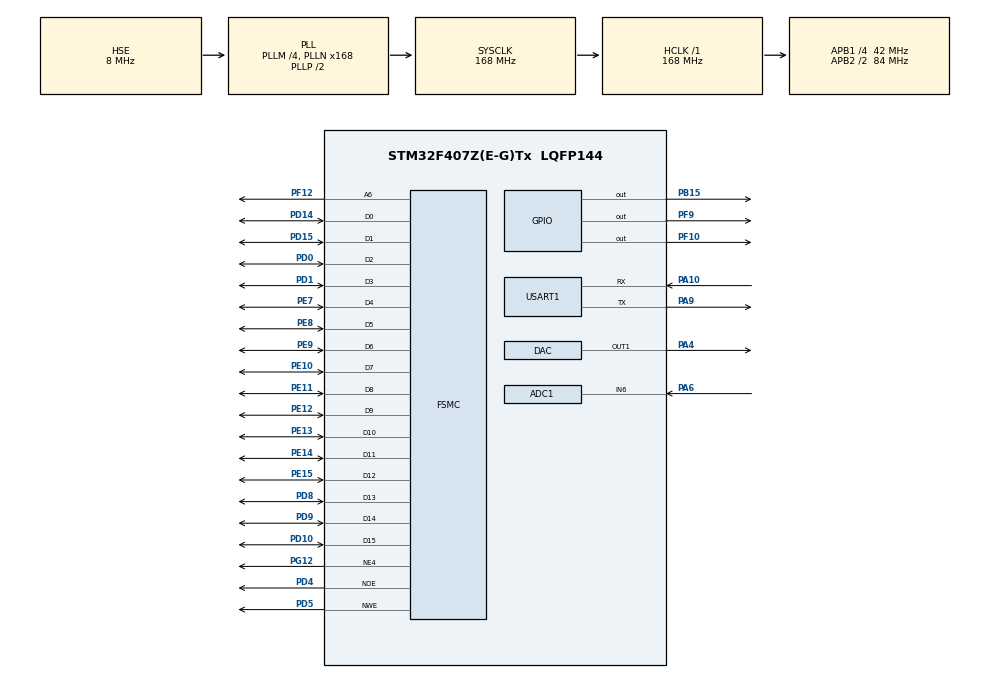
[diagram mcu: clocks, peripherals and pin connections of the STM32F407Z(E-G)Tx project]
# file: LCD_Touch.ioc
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ADC1.Channel-0\#ChannelRegularConversion=ADC_CHANNEL_6
ADC1.NbrOfConversionFlag=1
ADC1.Rank-0\#ChannelRegularConversion=1
ADC1.SamplingTime-0\#ChannelRegularConversion=ADC_SAMPLETIME_3CYCLES
ADC1.master=1
DAC.DAC_OutputBuffer=DAC_OUTPUTBUFFER_DISABLE
DAC.DAC_Trigger=DAC_TRIGGER_SOFTWARE
FSMC.ExtendedAddressSetupTime1=9
FSMC.ExtendedBusTurnAroundDuration1=0
FSMC.ExtendedDataSetupTime1=8
FSMC.ExtendedMode1=FSMC_EXTENDED_MODE_ENABLE
Mcu.Family=STM32F4
Mcu.Name=STM32F407Z(E-G)Tx
Mcu.Package=LQFP144
NVIC.PriorityGroup=NVIC_PRIORITYGROUP_4
PA10.Mode=Asynchronous
PA10.Signal=USART1_RX
PA13.Mode=Serial_Wire
PA13.Signal=SYS_JTMS-SWDIO
PA14.Mode=Serial_Wire
PA14.Signal=SYS_JTCK-SWCLK
PA4.Signal=COMP_DAC1_group
PA6.Signal=ADCx_IN6
PA9.Mode=Asynchronous
PA9.Signal=USART1_TX
PB15.Signal=GPIO_Output
PC14-OSC32_IN.Mode=LSE-External-Oscillator
PC14-OSC32_IN.Signal=RCC_OSC32_IN
PC15-OSC32_OUT.Mode=LSE-External-Oscillator
PC15-OSC32_OUT.Signal=RCC_OSC32_OUT
PD0.Signal=FSMC_D2_DA2
PD1.Signal=FSMC_D3_DA3
PD10.Signal=FSMC_D15_DA15
PD14.Signal=FSMC_D0_DA0
PD15.Signal=FSMC_D1_DA1
PD4.Signal=FSMC_NOE
PD5.Signal=FSMC_NWE
PD8.Signal=FSMC_D13_DA13
PD9.Signal=FSMC_D14_DA14
PE10.Signal=FSMC_D7_DA7
PE11.Signal=FSMC_D8_DA8
PE12.Signal=FSMC_D9_DA9
PE13.Signal=FSMC_D10_DA10
PE14.Signal=FSMC_D11_DA11
PE15.Signal=FSMC_D12_DA12
PE7.Signal=FSMC_D4_DA4
PE8.Signal=FSMC_D5_DA5
PE9.Signal=FSMC_D6_DA6
PF10.GPIO_PuPd=GPIO_PULLUP
PF10.PinState=GPIO_PIN_SET
PF10.Signal=GPIO_Output
PF12.Signal=FSMC_A6
PF9.GPIO_PuPd=GPIO_PULLUP
PF9.GPIO_Speed=GPIO_SPEED_FREQ_LOW
PF9.PinState=GPIO_PIN_SET
PF9.Signal=GPIO_Output
PG12.Mode=NorPsramChipSelect4_1
PG12.Signal=FSMC_NE4
PH0-OSC_IN.Mode=HSE-External-Oscillator
PH0-OSC_IN.Signal=RCC_OSC_IN
PH1-OSC_OUT.Mode=HSE-External-Oscillator
PH1-OSC_OUT.Signal=RCC_OSC_OUT
ProjectManager.HeapSize=0x200
ProjectManager.StackSize=0x400
ProjectManager.TargetToolchain=STM32CubeIDE
RCC.48MHZClocksFreq_Value=84000000
RCC.AHBFreq_Value=168000000
RCC.APB1CLKDivider=RCC_HCLK_DIV4
RCC.APB1Freq_Value=42000000
RCC.APB1TimFreq_Value=84000000
RCC.APB2CLKDivider=RCC_HCLK_DIV2
RCC.APB2Freq_Value=84000000
RCC.APB2TimFreq_Value=168000000
RCC.CortexFreq_Value=168000000
RCC.HCLKFreq_Value=168000000
RCC.HSE_VALUE=8000000
RCC.HSI_VALUE=16000000
RCC.PLLM=4
RCC.PLLN=168
RCC.PLLSourceVirtual=RCC_PLLSOURCE_HSE
RCC.SYSCLKFreq_VALUE=168000000
RCC.SYSCLKSource=RCC_SYSCLKSOURCE_PLLCLK
RCC.VCOOutputFreq_Value=336000000
SH.ADCx_IN6.0=ADC1_IN6,IN6
SH.COMP_DAC1_group.0=DAC_OUT1,DAC_OUT1
SH.FSMC_A6.0=FSMC_A6,A6_1
SH.FSMC_D0_DA0.0=FSMC_D0,16b-d1
SH.FSMC_D10_DA10.0=FSMC_D10,16b-d1
SH.FSMC_D11_DA11.0=FSMC_D11,16b-d1
SH.FSMC_D12_DA12.0=FSMC_D12,16b-d1
SH.FSMC_D13_DA13.0=FSMC_D13,16b-d1
SH.FSMC_D14_DA14.0=FSMC_D14,16b-d1
SH.FSMC_D15_DA15.0=FSMC_D15,16b-d1
SH.FSMC_D1_DA1.0=FSMC_D1,16b-d1
SH.FSMC_D2_DA2.0=FSMC_D2,16b-d1
SH.FSMC_D3_DA3.0=FSMC_D3,16b-d1
SH.FSMC_D4_DA4.0=FSMC_D4,16b-d1
SH.FSMC_D5_DA5.0=FSMC_D5,16b-d1
SH.FSMC_D6_DA6.0=FSMC_D6,16b-d1
SH.FSMC_D7_DA7.0=FSMC_D7,16b-d1
SH.FSMC_D8_DA8.0=FSMC_D8,16b-d1
SH.FSMC_D9_DA9.0=FSMC_D9,16b-d1
SH.FSMC_NOE.0=FSMC_NOE,Lcd1
SH.FSMC_NWE.0=FSMC_NWE,Lcd1
USART1.VirtualMode=VM_ASYNC
board=custom

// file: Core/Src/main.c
/* USER CODE BEGIN Header */
/**
  ******************************************************************************
  * @file           : main.c
  * @brief          : Main program body
  ******************************************************************************
  * @attention
  *
  * Copyright (c) 2023 STMicroelectronics.
  * All rights reserved.
  *
  * This software is licensed under terms that can be found in the LICENSE file
  * in the root directory of this software component.
  * If no LICENSE file comes with this software, it is provided AS-IS.
  *
  ******************************************************************************
  */
/* USER CODE END Header */
#include <string.h>
#include "main.h"
#include "adc.h"
#include "dac.h"
#include "usart.h"
#include "gpio.h"
#include "fsmc.h"

/* USER CODE BEGIN Includes */
#include "sys.h"
#include "delay.h"
#include "lcd.h"
#include "touch.h"
#include "stdio.h"
/* USER CODE END Includes */

/* USER CODE BEGIN PTD */
uint8_t __io_putchar(int ch)
{
    uint8_t temp[1]={ch};
    HAL_UART_Transmit(&huart1,temp,1,2);
    return(ch);
}

uint8_t _write(int file, char *ptr,int len)
{
    int DataIdx;
    for(DataIdx = 0; DataIdx < len; DataIdx++)
    {
        __io_putchar(*ptr++);
    }
    return len;
}
/* USER CODE END PTD */

/* USER CODE BEGIN PV */
int a=0;
int DAC_value=0;
char xianshi[20];		//显示部分 数组
int q=0;
int b=0;
int s=0;
int g=0;
float  input=0;
/* USER CODE END PV */

void SystemClock_Config(void);

/* USER CODE BEGIN 0 */
uint32_t adc_value=0;

void deplay() {
    for (int i = 0; i < 5; ++i) {
        lcd_draw_bline(100 * i+50, 70, 100 * i+50, 470, 2, RED);//竖
        lcd_draw_bline(50,  100 * i+70, 450,  100 * i+70, 2, RED);//横
    }

}

void Dac_value(float input)
{
    if(input<=3.3)
    {
        float dac_value = (input / 3.3) * 4096;
        HAL_DAC_SetValue(&hdac, DAC_CHANNEL_1, DAC_ALIGN_12B_R, dac_value);
        HAL_DAC_Start(&hdac, DAC_CHANNEL_1);
        lcd_show_string(120, 560, 100, 100, 16, "          ", RED);
        lcd_show_float(120, 560, 3*input, 16, RED);
        lcd_show_float(120, 530, dac_value, 16, RED);
    }
    else
        {
            lcd_show_string(120, 530, 100, 100, 16, "         ", RED);
            lcd_show_string(120, 530, 100, 100, 16, "WRONG", RED);
        }
}

void adcgetvalue(){
    HAL_ADC_Start(&hadc1);	                 //启动ADC单次转换
    HAL_ADC_PollForConversion(&hadc1, 50);	//等待ADC转换完成
    adc_value = HAL_ADC_GetValue(&hadc1); 	//读取ADC转换数据
    double vol = ((double) adc_value / 4095) * 3.3;
    lcd_show_float(120,630,adc_value,16,RED);
    lcd_show_float(120,590,vol,16,RED);
}
void ctp_test(void)
{
    //初始化定义变量
    int biaozhi=1; 	 //小数点标志位
    int biaozhi2=1;
    int n=1;
    uint8_t t=0;
    uint8_t i=0;
    uint16_t  lastpos[5][2];
//    char xianshi[20];		//显示部分 数组
    xianshi[0]=' ';     //初始第一位
    input = 0;
    Dac_value(input);
    while(1)
    {
//        adcgetvalue();
        //键盘显示部分
        lcd_show_string(20,500,100,100,24,"Input",RED);
        lcd_show_string(20,530,100,100,24,"Output:",RED);
        lcd_show_string(20,560,100,100,24,"Value:",RED);
        lcd_show_string(20,590,100,100,24,"ADC :",RED);
        lcd_draw_rectangle(95,500,400,525,RED);

        lcd_show_num(100,100,1,1,24,RED);
        lcd_show_num(200,100,2,1,24,RED);
        lcd_show_num(300,100,3,1,24,RED);
        lcd_show_string(400,100,200,24,32,"+",RED);
        lcd_show_num(100,200,4,1,24,RED);
        lcd_show_num(200,200,5,1,24,RED);
        lcd_show_num(300,200,6,1,24,RED);
        lcd_show_string(400,200,200,24,32,"-",RED);
        lcd_show_num(100,300,7,1,24,RED);
        lcd_show_num(200,300,8,1,24,RED);
        lcd_show_num(300,300,9,1,24,RED);
        lcd_show_string(400,300,200,24,32,"C",RED);
        lcd_show_num(100,400,0,1,24,RED);
        lcd_show_char(200,400,'.',24,1,BLACK);
        lcd_show_string(300,400,200,24,24,"OK",RED);
        lcd_show_string(400,400,200,24,24,"NO",RED);
        lcd_show_string(400,720,200,200,24,"GET",RED);

        //坐标信息
        tp_dev.scan(0);
        for(t=0;t<1;t++)
        {
            if((tp_dev.sta)&(1<<t))
            {
                if(tp_dev.x[t]<lcddev.width&&tp_dev.y[t]<lcddev.height)
                {
                    if(lastpos[t][0]==0XFFFF)
                    {
                        lastpos[t][0] = tp_dev.x[t];
                        lastpos[t][1] = tp_dev.y[t];
                    }
//					lcd_draw_bline(lastpos[t][0],lastpos[t][1],tp_dev.x[t],tp_dev.y[t],2,POINT_COLOR_TBL[t]);//画线
                    lastpos[t][0]=tp_dev.x[t];
                    lastpos[t][1]=tp_dev.y[t];

                    if(tp_dev.x[t]>50&&tp_dev.x[t]<150&&tp_dev.y[t]>50&&tp_dev.y[t]<150)  //如果按下1
                    {
                        while(tp_dev.x[t]>50&&tp_dev.x[t]<150&&tp_dev.y[t]>50&&tp_dev.y[t]<150)
                        {
                            tp_dev.scan(0);
                        }
                        xianshi[n]='1';
                        n++;
                    }
                    if(tp_dev.x[t]>150&&tp_dev.x[t]<250&&tp_dev.y[t]>50&&tp_dev.y[t]<150)  //如果按下2
                    {
                        while(tp_dev.x[t]>150&&tp_dev.x[t]<250&&tp_dev.y[t]>50&&tp_dev.y[t]<150)
                        {
                            tp_dev.scan(0);
                        }
                        xianshi[n]='2';
                        n++;
                    }
                    if(tp_dev.x[t]>250&&tp_dev.x[t]<350&&tp_dev.y[t]>50&&tp_dev.y[t]<150)  //如果按下3
                    {
                        while(tp_dev.x[t]>250&&tp_dev.x[t]<350&&tp_dev.y[t]>50&&tp_dev.y[t]<150)
                        {
                            tp_dev.scan(0);
                        }
                        xianshi[n]='3';
                        n++;
                    }
                    if (tp_dev.x[t] > 350 && tp_dev.x[t] < 450 && tp_dev.y[t] > 50 && tp_dev.y[t] < 150)  // 如果按下+
                    {
                        while (tp_dev.x[t] > 350 && tp_dev.x[t] < 450 && tp_dev.y[t] > 50 && tp_dev.y[t] < 150)
                        {
                            tp_dev.scan(0);
                        }
                        input = atof(xianshi);  // 字符串转化为数字
                        input = input + 0.0034
                                ;
                        snprintf(xianshi, 20, "%f", input);  // 数字转化为字符串
                        Dac_value(input);
                    }

                    if(tp_dev.x[t]>50&&tp_dev.x[t]<150&&tp_dev.y[t]>150&&tp_dev.y[t]<250)  //如果按下4
                    {
                        while(tp_dev.x[t]>50&&tp_dev.x[t]<150&&tp_dev.y[t]>150&&tp_dev.y[t]<250)
                        {
                            tp_dev.scan(0);
                        }
                        xianshi[n]='4';
                        n++;
                    }
                    if(tp_dev.x[t]>150&&tp_dev.x[t]<250&&tp_dev.y[t]>150&&tp_dev.y[t]<250)  //如果按下5
                    {
                        while(tp_dev.x[t]>150&&tp_dev.x[t]<250&&tp_dev.y[t]>150&&tp_dev.y[t]<250)
                        {
                            tp_dev.scan(0);
                        }
                        xianshi[n]='5';
                        n++;
                    }
                    if(tp_dev.x[t]>250&&tp_dev.x[t]<350&&tp_dev.y[t]>150&&tp_dev.y[t]<250)  //如果按下6
                    {
                        while(tp_dev.x[t]>250&&tp_dev.x[t]<350&&tp_dev.y[t]>150&&tp_dev.y[t]<250)
                        {
                            tp_dev.scan(0);
                        }
                        xianshi[n]='6';
                        n++;
                    }
                    if (tp_dev.x[t] > 350 && tp_dev.x[t] < 450 && tp_dev.y[t] > 150 && tp_dev.y[t] < 250)  // 如果按下-
                    {
                        while (tp_dev.x[t] > 350 && tp_dev.x[t] < 450 && tp_dev.y[t] > 150 && tp_dev.y[t] < 250)
                        {
                            tp_dev.scan(0);
                        }
                        input = atof(xianshi);  // 字符串转化为数字
                        input = input - 0.0034;
                        snprintf(xianshi, 20, "%f", input);  // 数字转化为字符串
                        Dac_value(input);
                    }
                    if(tp_dev.x[t]>50&&tp_dev.x[t]<150&&tp_dev.y[t]>250&&tp_dev.y[t]<350)  //如果按下7
                    {
                        while(tp_dev.x[t]>50&&tp_dev.x[t]<150&&tp_dev.y[t]>250&&tp_dev.y[t]<350)
                        {
                            tp_dev.scan(0);
                        }
                        xianshi[n]='7';
                        n++;
                    }
                    if(tp_dev.x[t]>150&&tp_dev.x[t]<250&&tp_dev.y[t]>250&&tp_dev.y[t]<350)  //如果按下8
                    {
                        while(tp_dev.x[t]>150&&tp_dev.x[t]<250&&tp_dev.y[t]>250&&tp_dev.y[t]<350)
                        {
                            tp_dev.scan(0);
                        }
                        xianshi[n]='8';
                        n++;
                    }
                    if(tp_dev.x[t]>250&&tp_dev.x[t]<350&&tp_dev.y[t]>250&&tp_dev.y[t]<350)  //如果按下9
                    {
                        while(tp_dev.x[t]>250&&tp_dev.x[t]<350&&tp_dev.y[t]>250&&tp_dev.y[t]<350)
                        {
                            tp_dev.scan(0);
                        }
                        xianshi[n]='9';
                        n++;
                    }
                    if(tp_dev.x[t]>350&&tp_dev.x[t]<450&&tp_dev.y[t]>250&&tp_dev.y[t]<350)  //如果按下C
                    {
                        while(tp_dev.x[t]>350&&tp_dev.x[t]<450&&tp_dev.y[t]>250&&tp_dev.y[t]<350)
                        {
                            tp_dev.scan(0);
                        }
                       biaozhi=1;
                        for(i=0;i<20;i++)
                        {
                            xianshi[i]=' ';
                        }
                        n=1;
                        xianshi[0]=' ';
                            lcd_show_string(100,500,240,24,24,xianshi,RED);
                            lcd_fill(95,500,400,525,WHITE);    //清屏部分，防止乱码
                    }
                    if(tp_dev.x[t]>50&&tp_dev.x[t]<150&&tp_dev.y[t]>350&&tp_dev.y[t]<450)  //如果按下0
                    {
                        while(tp_dev.x[t]>50&&tp_dev.x[t]<150&&tp_dev.y[t]>350&&tp_dev.y[t]<450)
                        {
                            tp_dev.scan(0);
                        }
                        xianshi[n]='0';
                        n++;
                    }
                    if(tp_dev.x[t]>150&&tp_dev.x[t]<250&&tp_dev.y[t]>350&&tp_dev.y[t]<450)  //如果按下.
                    {
                        while(tp_dev.x[t]>150&&tp_dev.x[t]<250&&tp_dev.y[t]>350&&tp_dev.y[t]<450)
                        {
                            tp_dev.scan(0);
                        }
                        if(biaozhi==1)               //小数点防重复程序
                        {xianshi[n]='.';
                            n++;
                            biaozhi++;
                        }
                    }
                    if(tp_dev.x[t]>250&&tp_dev.x[t]<350&&tp_dev.y[t]>350&&tp_dev.y[t]<450)  //如果按下OK
                    {
                        while(tp_dev.x[t]>250&&tp_dev.x[t]<350&&tp_dev.y[t]>350&&tp_dev.y[t]<450)
                        {
                            tp_dev.scan(0);
                        }
                        float i=atof(xianshi);
                        Dac_value( i);
                    }
                    if(tp_dev.x[t]>400&&tp_dev.x[t]<480&&tp_dev.y[t]>700&&tp_dev.y[t]<800)  //如果按下get
                    {
                        while(tp_dev.x[t]>250&&tp_dev.x[t]<350&&tp_dev.y[t]>350&&tp_dev.y[t]<450)
                        {
                            tp_dev.scan(0);
                        }
                       adcgetvalue();
                    }
                    if(tp_dev.x[t]>350&&tp_dev.x[t]<450&&tp_dev.y[t]>350&&tp_dev.y[t]<450)  //如果按下NO  删除部分
                    {
                        while(tp_dev.x[t]>350&&tp_dev.x[t]<450&&tp_dev.y[t]>350&&tp_dev.y[t]<450)
                        {
                            tp_dev.scan(0);
                        }
                        if(xianshi[n-1]=='.')      //小数点删除特殊情况，还原标志位
                        {
                            biaozhi=1;
                        }
                        xianshi[n-1]=' ';
                        n--;
                        if(n==0)
                            n=1;
                    }
//如果输入超过长度程序部分
                    if(n>9)
                    {
                        for(i=0;i<9;i++)        //清空数组
                        {
                            xianshi[i]=' ';
                            n=1;
                        }
                        lcd_show_string(100,500,240,24,24,xianshi,RED);
                        lcd_fill(95,500,400,525,WHITE);    //清屏部分，防止乱码
                    }
//显示部分
                    lcd_fill(95,500,400,525,WHITE);
                    lcd_show_string(100,500,240,24,24,xianshi,RED);
                }
            }else lastpos[t][0]=0XFFFF;
        }
    }
}
/* USER CODE END 0 */

int main(void)
{

  /* MCU Configuration--------------------------------------------------------*/

  /* Reset of all peripherals, Initializes the Flash interface and the Systick. */
  HAL_Init();

  /* Configure the system clock */
  SystemClock_Config();

  /* Initialize all configured peripherals */
  MX_GPIO_Init();
  MX_FSMC_Init();
  MX_USART1_UART_Init();
  MX_DAC_Init();
  MX_ADC1_Init();
  /* USER CODE BEGIN 2 */
    lcd_init();
    lcd_clear(WHITE);
    deplay();
    tp_dev.init();
  /* USER CODE END 2 */

  /* Infinite loop */
    while (1) {

    /* USER CODE BEGIN 3 */
//        deplay();
//        draw();
//        abc();
//
        ctp_test();
        }
  /* USER CODE END 3 */
}

void SystemClock_Config(void)
{
  RCC_OscInitTypeDef RCC_OscInitStruct = {0};
  RCC_ClkInitTypeDef RCC_ClkInitStruct = {0};

  /** Configure the main internal regulator output voltage
  */
  __HAL_RCC_PWR_CLK_ENABLE();
  __HAL_PWR_VOLTAGESCALING_CONFIG(PWR_REGULATOR_VOLTAGE_SCALE1);

  /** Initializes the RCC Oscillators according to the specified parameters
  * in the RCC_OscInitTypeDef structure.
  */
  RCC_OscInitStruct.OscillatorType = RCC_OSCILLATORTYPE_HSE;
  RCC_OscInitStruct.HSEState = RCC_HSE_ON;
  RCC_OscInitStruct.PLL.PLLState = RCC_PLL_ON;
  RCC_OscInitStruct.PLL.PLLSource = RCC_PLLSOURCE_HSE;
  RCC_OscInitStruct.PLL.PLLM = 4;
  RCC_OscInitStruct.PLL.PLLN = 168;
  RCC_OscInitStruct.PLL.PLLP = RCC_PLLP_DIV2;
  RCC_OscInitStruct.PLL.PLLQ = 4;
  if (HAL_RCC_OscConfig(&RCC_OscInitStruct) != HAL_OK)
  {
    Error_Handler();
  }

  /** Initializes the CPU, AHB and APB buses clocks
  */
  RCC_ClkInitStruct.ClockType = RCC_CLOCKTYPE_HCLK|RCC_CLOCKTYPE_SYSCLK
                              |RCC_CLOCKTYPE_PCLK1|RCC_CLOCKTYPE_PCLK2;
  RCC_ClkInitStruct.SYSCLKSource = RCC_SYSCLKSOURCE_PLLCLK;
  RCC_ClkInitStruct.AHBCLKDivider = RCC_SYSCLK_DIV1;
  RCC_ClkInitStruct.APB1CLKDivider = RCC_HCLK_DIV4;
  RCC_ClkInitStruct.APB2CLKDivider = RCC_HCLK_DIV2;

  if (HAL_RCC_ClockConfig(&RCC_ClkInitStruct, FLASH_LATENCY_5) != HAL_OK)
  {
    Error_Handler();
  }
}

void Error_Handler(void)
{
    __disable_irq();
    while (1)
    {
    }
}
